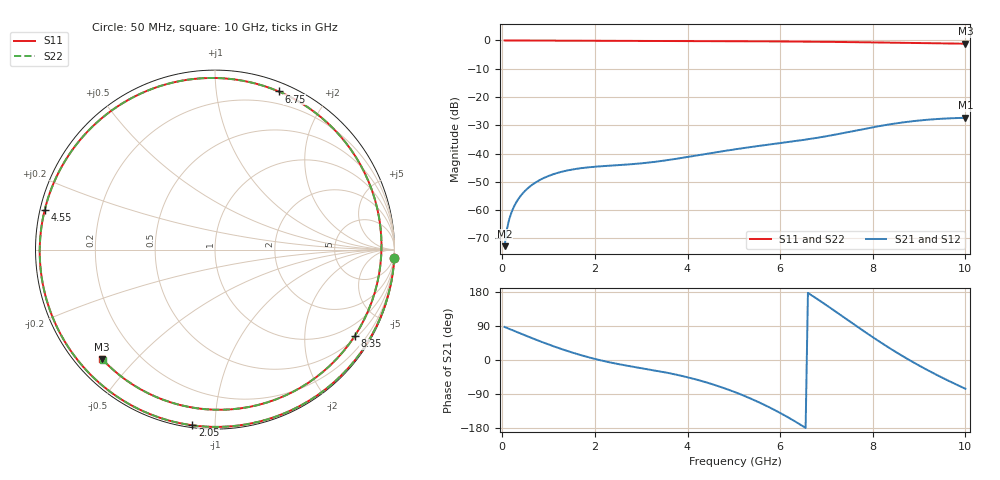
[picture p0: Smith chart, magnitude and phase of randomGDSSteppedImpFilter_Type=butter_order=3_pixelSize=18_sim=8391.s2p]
! freq	dB(S11)	phase(S11)	dB(S12)	phase(S12)
!  dB(S21)	phase(S21)	dB(S22)	phase(S22)
!S-par simulation data
#  GHz  S  DB  R 50
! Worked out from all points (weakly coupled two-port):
!   200 points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, 50 MHz to 10 GHz, reference 50 ohm
!   highest |S21| = -27.35 dB at 10 GHz (marker M1); lowest = -72.7 dB at 50 MHz (marker M2)
!   lowest |S11| = -1.1 dB at 10 GHz (marker M3), VSWR 15.13, Z = 3.84 - j20.1 ohm
!   |S11| at or under -10 dB: nowhere
!   |S22| runs from -1.1 to 0.0 dB; largest |S21 - S12| = 0
!   S11 on the Smith chart (normalised r, x): 50 MHz: 0, -45; 2.05 GHz: 0.01, -0.88; 4.55 GHz: 0.01, +0.12; 6.75 GHz: 0.08, +1.48; 8.35 GHz: 0.57, -3.42; 10 GHz: 0.08, -0.40
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0.05  -0.00 -2.6  -72.72 87.1  -72.72 87.1  -0.00 -2.6
0.1  -0.00 -5.1  -66.70 84.7  -66.70 84.7  -0.00 -5.1
0.2  -0.01 -10.2  -60.72 79.7  -60.72 79.7  -0.01 -10.2
0.5  -0.04 -25.4  -53.02 64.6  -53.02 64.6  -0.04 -25.4
1.15  -0.07 -57.1  -47.03 34.4  -47.03 34.4  -0.07 -57.1
1.75  -0.10 -84.4  -45.05 11.0  -45.05 11.0  -0.10 -84.4
2.05  -0.11 -97.3  -44.57 1.3  -44.57 1.3  -0.11 -97.3
2.65  -0.14 -121.7  -43.91 -14.1  -43.91 -14.1  -0.14 -121.7
3.4  -0.17 -150.3  -42.68 -30.0  -42.68 -30.0  -0.17 -150.3
4.55  -0.23 166.8  -39.70 -64.4  -39.70 -64.4  -0.23 166.9
5.05  -0.26 147.3  -38.42 -86.0  -38.42 -86.0  -0.26 147.4
5.95  -0.34 108.6  -36.39 -136.4  -36.39 -136.4  -0.34 108.8
6.7  -0.44 70.8  -34.67 169.1  -34.67 169.1  -0.44 71.0
6.75  -0.45 68.1  -34.54 165.1  -34.54 165.1  -0.44 68.3
7.15  -0.51 45.2  -33.41 131.9  -33.41 131.9  -0.51 45.4
7.6  -0.60 17.4  -31.97 93.6  -31.97 93.6  -0.59 17.7
7.95  -0.67 -5.3  -30.85 64.3  -30.85 64.3  -0.67 -5.0
8.35  -0.77 -31.9  -29.69 32.4  -29.69 32.4  -0.77 -31.5
8.75  -0.87 -58.4  -28.76 2.7  -28.76 2.7  -0.87 -58.0
9.15  -0.97 -84.2  -28.07 -24.6  -28.07 -24.6  -0.97 -83.8
9.55  -1.06 -109.2  -27.61 -49.7  -27.61 -49.7  -1.06 -108.8
10  -1.15 -136.0  -27.35 -75.8  -27.35 -75.8  -1.15 -135.6
